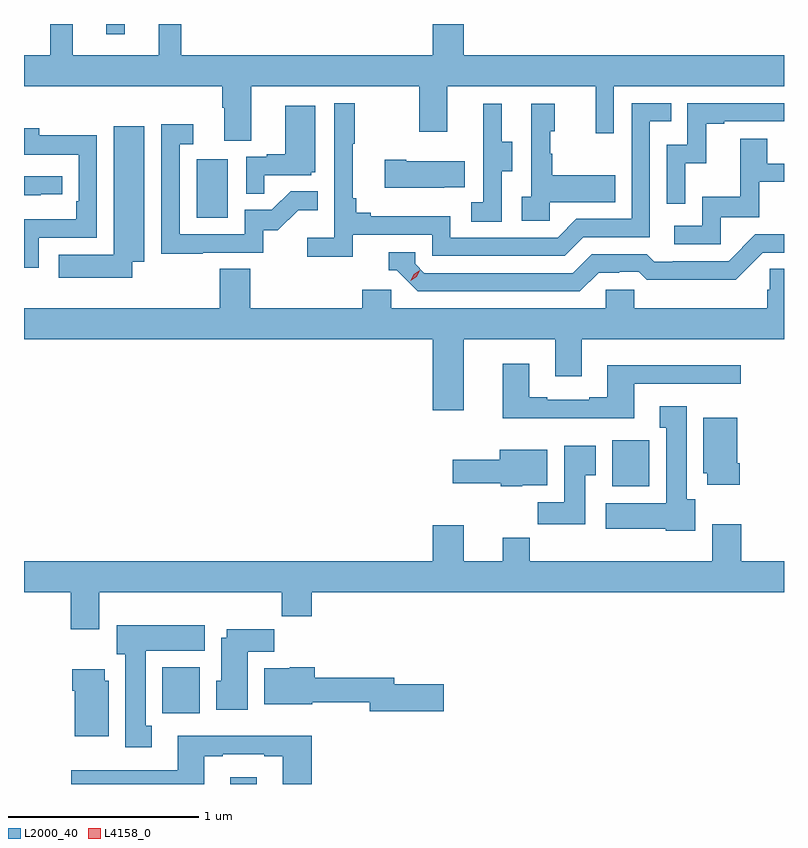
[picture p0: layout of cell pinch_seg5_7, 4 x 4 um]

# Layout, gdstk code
import gdstk
lib = gdstk.Library(unit=1e-6, precision=1e-09)
def R(c, l, rs):  # rectangles x0, y0, x1, y1
    for r in rs: c.add(gdstk.rectangle(r[:2], r[2:], *l))
def P(c, l, *ps):  # polygons
    for p in ps: c.add(gdstk.Polygon(p, *l))
L2000_40 = (2000, 40)
L4158_0 = (4158, 0)

pinch_seg5_7 = lib.new_cell('pinch_seg5_7')
R(pinch_seg5_7, L2000_40, [(1134.971,895.712,1135.111,895.747), (1134.614,896.084,1134.811,896.326), (1136.981,897.278,1137.178,897.52), (1134.794,898.692,1134.958,898.999), (1134.32,899.658,1134.417,899.712)])
P(pinch_seg5_7, L2000_40, [(1135.081,899.384),(1135.966,899.384),(1135.966,899.145),(1136.113,899.145),(1136.113,899.384),(1136.894,899.384),(1136.894,899.136),(1136.991,899.136),(1136.991,899.384),(1137.886,899.384),(1137.886,899.548),(1136.2,899.548),(1136.2,899.712),(1136.036,899.712),(1136.036,899.548),(1134.713,899.548),(1134.713,899.712),(1134.596,899.712),(1134.596,899.548),(1134.143,899.548),(1134.143,899.712),(1134.025,899.712),(1134.025,899.548),(1133.886,899.548),(1133.886,899.384),(1134.929,899.384),(1134.929,899.272),(1134.941,899.272),(1134.941,899.098),(1135.081,899.098)],
  [(1135.616,898.602),(1136.034,898.602),(1136.034,898.491),(1136.731,898.491),(1136.83,898.59),(1137.18,898.59),(1137.18,899.199),(1137.293,899.199),(1137.293,899.295),(1137.084,899.295),(1137.084,898.686),(1136.793,898.686),(1136.694,898.587),(1136.13,898.587),(1136.13,898.699),(1135.711,898.699),(1135.711,898.718),(1135.634,898.718),(1135.634,898.795),(1135.615,898.795),(1135.615,899.083),(1135.627,899.083),(1135.627,899.296),(1135.518,899.296),(1135.518,898.588),(1135.377,898.588),(1135.377,898.486),(1135.616,898.486)],
  [(1137.366,898.979),(1137.476,898.979),(1137.476,899.187),(1137.571,899.187),(1137.571,899.199),(1137.886,899.199),(1137.886,899.295),(1137.378,899.295),(1137.378,899.076),(1137.27,899.076),(1137.27,898.767),(1137.366,898.767)],
  [(1136.4,898.936),(1136.455,898.936),(1136.455,899.091),(1136.401,899.091),(1136.401,899.293),(1136.303,899.293),(1136.303,899.079),(1136.304,899.079),(1136.304,898.775),(1136.241,898.775),(1136.241,898.672),(1136.4,898.672)],
  [(1136.652,898.775),(1136.999,898.775),(1136.999,898.915),(1136.665,898.915),(1136.665,899.03),(1136.655,899.03),(1136.655,899.148),(1136.68,899.148),(1136.68,899.293),(1136.556,899.293),(1136.556,898.802),(1136.505,898.802),(1136.505,898.677),(1136.652,898.677)],
  [(1135.151,898.917),(1135.398,898.917),(1135.398,898.932),(1135.42,898.932),(1135.42,899.281),(1135.262,899.281),(1135.262,899.026),(1135.163,899.026),(1135.163,899.013),(1135.056,899.013),(1135.056,898.819),(1135.151,898.819)],
  [(1134.827,898.509),(1135.146,898.509),(1135.146,898.626),(1135.222,898.626),(1135.329,898.733),(1135.433,898.733),(1135.433,898.832),(1135.289,898.832),(1135.191,898.734),(1135.047,898.734),(1135.047,898.605),(1134.705,898.605),(1134.705,899.079),(1134.778,899.079),(1134.778,899.185),(1134.609,899.185),(1134.609,898.504),(1134.827,898.504)],
  [(1134.456,898.46),(1134.52,898.46),(1134.52,899.173),(1134.359,899.173),(1134.359,898.498),(1134.069,898.498),(1134.069,898.376),(1134.456,898.376)],
  [(1133.964,898.587),(1134.27,898.587),(1134.27,899.126),(1133.965,899.126),(1133.965,899.164),(1133.886,899.164),(1133.886,899.025),(1134.174,899.025),(1134.174,898.78),(1134.161,898.78),(1134.161,898.684),(1133.886,898.684),(1133.886,898.428),(1133.964,898.428)],
  [(1137.552,898.695),(1137.757,898.695),(1137.757,898.881),(1137.886,898.881),(1137.886,898.977),(1137.799,898.977),(1137.799,899.107),(1137.655,899.107),(1137.655,898.804),(1137.456,898.804),(1137.456,898.65),(1137.309,898.65),(1137.309,898.554),(1137.552,898.554)],
  [(1136.099,898.853),(1136.207,898.853),(1136.207,898.99),(1135.897,898.99),(1135.897,898.998),(1135.785,898.998),(1135.785,898.85),(1136.099,898.85)],
  [(1133.975,898.815),(1134.088,898.815),(1134.088,898.911),(1133.886,898.911),(1133.886,898.81),(1133.975,898.81)],
  [(1136.911,898.404),(1137.018,898.404),(1137.018,898.407),(1137.121,898.407),(1137.163,898.365),(1137.396,898.365),(1137.396,898.367),(1137.632,898.367),(1137.774,898.509),(1137.886,898.509),(1137.886,898.605),(1137.735,898.605),(1137.594,898.464),(1137.301,898.464),(1137.301,898.461),(1137.202,898.461),(1137.163,898.5),(1136.874,898.5),(1136.775,898.401),(1135.992,898.401),(1135.944,898.449),(1135.944,898.512),(1135.805,898.512),(1135.805,898.416),(1135.848,898.416),(1135.959,898.305),(1136.812,898.305)],
  [(1136.2,898.052),(1136.681,898.052),(1136.681,897.858),(1136.821,897.858),(1136.821,898.052),(1137.886,898.052),(1137.886,898.424),(1137.811,898.424),(1137.811,898.314),(1137.797,898.314),(1137.797,898.216),(1137.099,898.216),(1137.099,898.314),(1136.949,898.314),(1136.949,898.216),(1135.818,898.216),(1135.818,898.314),(1135.667,898.314),(1135.667,898.216),(1135.076,898.216),(1135.076,898.424),(1134.916,898.424),(1134.916,898.216),(1133.886,898.216),(1133.886,898.052),(1136.036,898.052),(1136.036,897.678),(1136.2,897.678)],
  [(1137.097,897.819),(1137.658,897.819),(1137.658,897.916),(1136.957,897.916),(1136.957,897.748),(1136.861,897.748),(1136.861,897.735),(1136.641,897.735),(1136.641,897.748),(1136.545,897.748),(1136.545,897.925),(1136.405,897.925),(1136.405,897.638),(1137.097,897.638)],
  [(1137.418,897.21),(1137.373,897.21),(1137.373,897.7),(1137.233,897.7),(1137.233,897.587),(1137.266,897.587),(1137.266,897.19),(1136.949,897.19),(1136.949,897.056),(1137.264,897.056),(1137.264,897.044),(1137.418,897.044)],
  [(1137.653,897.4),(1137.64,897.4),(1137.64,897.64),(1137.461,897.64),(1137.461,897.348),(1137.482,897.348),(1137.482,897.288),(1137.653,897.288)],
  [(1136.839,897.337),(1136.896,897.337),(1136.896,897.493),(1136.729,897.493),(1136.729,897.196),(1136.59,897.196),(1136.59,897.078),(1136.839,897.078)],
  [(1136.508,897.284),(1136.641,897.284),(1136.641,897.472),(1136.39,897.472),(1136.39,897.418),(1136.142,897.418),(1136.142,897.296),(1136.394,897.296),(1136.394,897.278),(1136.508,897.278)],
  [(1134.283,896.72),(1135.243,896.72),(1135.243,896.596),(1135.4,896.596),(1135.4,896.72),(1137.886,896.72),(1137.886,896.884),(1137.662,896.884),(1137.662,897.079),(1137.509,897.079),(1137.509,896.884),(1136.549,896.884),(1136.549,897.008),(1136.405,897.008),(1136.405,896.884),(1136.2,896.884),(1136.2,897.073),(1136.036,897.073),(1136.036,896.884),(1133.886,896.884),(1133.886,896.72),(1134.131,896.72),(1134.131,896.526),(1134.283,896.526)],
  [(1134.559,896.018),(1134.526,896.018),(1134.526,896.414),(1134.838,896.414),(1134.838,896.548),(1134.374,896.548),(1134.374,896.394),(1134.419,896.394),(1134.419,895.905),(1134.559,895.905)],
  [(1135.063,896.408),(1135.202,896.408),(1135.202,896.527),(1134.953,896.527),(1134.953,896.482),(1134.923,896.482),(1134.923,896.256),(1134.899,896.256),(1134.899,896.102),(1135.063,896.102)],
  [(1136.095,896.238),(1135.834,896.238),(1135.834,896.272),(1135.415,896.272),(1135.415,896.326),(1135.284,896.326),(1135.284,896.32),(1135.151,896.32),(1135.151,896.132),(1135.402,896.132),(1135.402,896.143),(1135.706,896.143),(1135.706,896.096),(1136.095,896.096)],
  [(1134.331,896.256),(1134.31,896.256),(1134.31,896.317),(1134.14,896.317),(1134.14,896.204),(1134.152,896.204),(1134.152,895.964),(1134.331,895.964)],
  [(1134.835,895.857),(1134.931,895.857),(1134.931,895.869),(1135.151,895.869),(1135.151,895.857),(1135.247,895.857),(1135.247,895.712),(1135.4,895.712),(1135.4,895.966),(1134.695,895.966),(1134.695,895.785),(1134.135,895.785),(1134.135,895.712),(1134.835,895.712)])
P(pinch_seg5_7, L4158_0, [(1135.922,898.362),(1135.922,898.362),(1135.937,898.395),(1135.968,898.415),(1135.968,898.415),(1135.968,898.415),(1135.952,898.382),(1135.922,898.362)])

lib.write_gds('pinch_seg5_7.gds')
